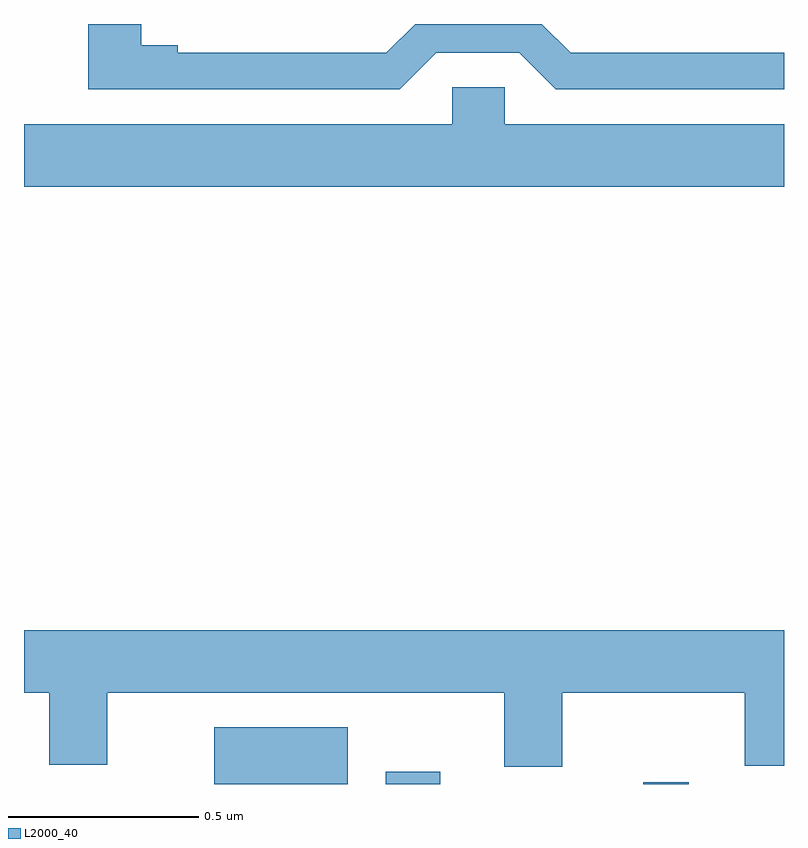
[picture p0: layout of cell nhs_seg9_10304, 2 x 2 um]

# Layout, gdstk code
import gdstk
lib = gdstk.Library(unit=1e-6, precision=1e-09)
def R(c, l, rs):  # rectangles x0, y0, x1, y1
    for r in rs: c.add(gdstk.rectangle(r[:2], r[2:], *l))
def P(c, l, *ps):  # polygons
    for p in ps: c.add(gdstk.Polygon(p, *l))
L2000_40 = (2000, 40)

nhs_seg9_10304 = lib.new_cell('nhs_seg9_10304')
R(nhs_seg9_10304, L2000_40, [(241.5,1209.5,241.852,1209.649), (241.952,1209.5,242.095,1209.532), (242.63,1209.5,242.749,1209.505)])
P(nhs_seg9_10304, L2000_40, [(242.085,1211.424),(242.303,1211.424),(242.399,1211.328),(243,1211.328),(243,1211.424),(242.439,1211.424),(242.363,1211.5),(242.029,1211.5),(241.953,1211.424),(241.405,1211.424),(241.405,1211.444),(241.309,1211.444),(241.309,1211.5),(241.169,1211.5),(241.169,1211.328),(241.989,1211.328)],
  [(243,1211.236),(242.265,1211.236),(242.265,1211.334),(242.127,1211.334),(242.127,1211.236),(241,1211.236),(241,1211.072),(243,1211.072)],
  [(242.417,1209.74),(242.897,1209.74),(242.897,1209.548),(243,1209.548),(243,1209.904),(241,1209.904),(241,1209.74),(241.067,1209.74),(241.067,1209.551),(241.219,1209.551),(241.219,1209.74),(242.264,1209.74),(242.264,1209.546),(242.417,1209.546)])

lib.write_gds('nhs_seg9_10304.gds')
